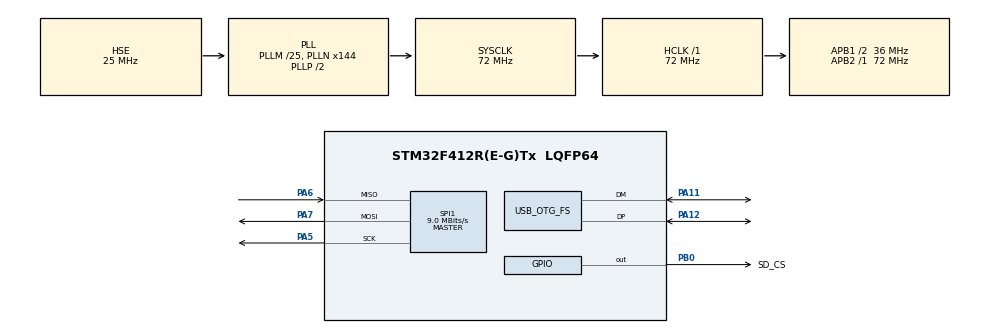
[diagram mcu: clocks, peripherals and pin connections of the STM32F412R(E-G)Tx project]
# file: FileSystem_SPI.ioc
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FATFS._MAX_SS=4096
FATFS._USE_LFN=1
Mcu.Family=STM32F4
Mcu.Name=STM32F412R(E-G)Tx
Mcu.Package=LQFP64
NVIC.PriorityGroup=NVIC_PRIORITYGROUP_4
PA11.Mode=Device_Only
PA11.Signal=USB_OTG_FS_DM
PA12.Mode=Device_Only
PA12.Signal=USB_OTG_FS_DP
PA13.Mode=Trace_Asynchronous_SW
PA13.Signal=SYS_JTMS-SWDIO
PA14.Mode=Trace_Asynchronous_SW
PA14.Signal=SYS_JTCK-SWCLK
PA5.Mode=Full_Duplex_Master
PA5.Signal=SPI1_SCK
PA6.Mode=Full_Duplex_Master
PA6.Signal=SPI1_MISO
PA7.Mode=Full_Duplex_Master
PA7.Signal=SPI1_MOSI
PB0.GPIO_Label=SD_CS
PB0.Signal=GPIO_Output
PB3.Mode=Trace_Asynchronous_SW
PB3.Signal=SYS_JTDO-SWO
PH0\ -\ OSC_IN.Mode=HSE-External-Oscillator
PH0\ -\ OSC_IN.Signal=RCC_OSC_IN
PH1\ -\ OSC_OUT.Mode=HSE-External-Oscillator
PH1\ -\ OSC_OUT.Signal=RCC_OSC_OUT
ProjectManager.HeapSize=0x200
ProjectManager.StackSize=0x400
ProjectManager.TargetToolchain=STM32CubeIDE
RCC.AHBFreq_Value=72000000
RCC.APB1CLKDivider=RCC_HCLK_DIV2
RCC.APB1Freq_Value=36000000
RCC.APB1TimFreq_Value=72000000
RCC.APB2Freq_Value=72000000
RCC.APB2TimFreq_Value=72000000
RCC.CortexFreq_Value=72000000
RCC.HCLKFreq_Value=72000000
RCC.PLLM=25
RCC.PLLN=144
RCC.PLLQ=3
RCC.SYSCLKFreq_VALUE=72000000
RCC.SYSCLKSource=RCC_SYSCLKSOURCE_PLLCLK
RCC.USBFreq_Value=48000000
RCC.VCOOutputFreq_Value=144000000
SPI1.BaudRatePrescaler=SPI_BAUDRATEPRESCALER_8
SPI1.CalculateBaudRate=9.0 MBits/s
SPI1.Direction=SPI_DIRECTION_2LINES
SPI1.Mode=SPI_MODE_MASTER
SPI1.VirtualType=VM_MASTER
USB_OTG_FS.VirtualMode=Device_Only
VP_FATFS_VS_Generic.Mode=User_defined
board=custom

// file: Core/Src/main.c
/* USER CODE BEGIN Header */
/**
  ******************************************************************************
  * @file           : main.c
  * @brief          : Main program body
  ******************************************************************************
  * @attention
  *
  * Copyright (c) 2023 STMicroelectronics.
  * All rights reserved.
  *
  * This software is licensed under terms that can be found in the LICENSE file
  * in the root directory of this software component.
  * If no LICENSE file comes with this software, it is provided AS-IS.
  *
  ******************************************************************************
  */
/* USER CODE END Header */
#include "main.h"
#include "fatfs.h"

/* USER CODE BEGIN Includes */
#include "fatfs_sd.h"
#include "string.h"
/* USER CODE END Includes */

SPI_HandleTypeDef hspi1;

PCD_HandleTypeDef hpcd_USB_OTG_FS;

void SystemClock_Config(void);
static void MX_GPIO_Init(void);
static void MX_SPI1_Init(void);
static void MX_USB_OTG_FS_PCD_Init(void);

/* USER CODE BEGIN 0 */
FATFS fs;
FIL fil;
FRESULT fresult;
char buffer[1024];

UINT br, bw;

FATFS *pfs;
DWORD fre_clust;
uint32_t total, free_space;

int bufsize (char *buff)
{
	int i = 0;
	while (*buff++ != '\0') i++;
	return i;
}

void clear_buffer (void)
{
	for (int i = 0; i < 1024; i ++)
		buffer[i] = '\0';
}

/* USER CODE END 0 */

int main(void)
{

  /* MCU Configuration--------------------------------------------------------*/

  /* Reset of all peripherals, Initializes the Flash interface and the Systick. */
  HAL_Init();

  /* Configure the system clock */
  SystemClock_Config();

  /* Initialize all configured peripherals */
  MX_GPIO_Init();
  MX_SPI1_Init();
  MX_USB_OTG_FS_PCD_Init();
  MX_FATFS_Init();
  /* USER CODE BEGIN 2 */
  fresult = f_mount(&fs,"",0);
  if (fresult != FR_OK)
	  Error_Handler();

  f_getfree("", &fre_clust, &pfs);

  total = (uint32_t)((pfs->n_fatent - 2) * pfs->csize * 0.5);
  free_space = (uint32_t)(fre_clust * pfs->csize * 0.5);

  fresult = f_open(&fil, "file2.txt", FA_CREATE_ALWAYS | FA_WRITE);

  /* Writing text */
  strcpy (buffer, "This is File2.txt, written using ...f_write... and it says Hello from Controllerstech\n");

  fresult = f_write(&fil, buffer, bufsize(buffer), &bw);

  /* Close file */
  f_close(&fil);

  // clearing buffer to show that result obtained is from the file
  clear_buffer();

  /* Open second file to read */
  fresult = f_open(&fil, "file2.txt", FA_READ);

  /* Read data from the file
   * Please see the function details for the arguments */
  f_read (&fil, buffer, f_size(&fil), &br);

  /* Close file */
  f_close(&fil);

  clear_buffer();

  /* USER CODE END 2 */

  /* Infinite loop */
  while (1)
  {

  }
}

void SystemClock_Config(void)
{
  RCC_OscInitTypeDef RCC_OscInitStruct = {0};
  RCC_ClkInitTypeDef RCC_ClkInitStruct = {0};

  /** Configure the main internal regulator output voltage
  */
  __HAL_RCC_PWR_CLK_ENABLE();
  __HAL_PWR_VOLTAGESCALING_CONFIG(PWR_REGULATOR_VOLTAGE_SCALE1);

  /** Initializes the RCC Oscillators according to the specified parameters
  * in the RCC_OscInitTypeDef structure.
  */
  RCC_OscInitStruct.OscillatorType = RCC_OSCILLATORTYPE_HSE;
  RCC_OscInitStruct.HSEState = RCC_HSE_ON;
  RCC_OscInitStruct.PLL.PLLState = RCC_PLL_ON;
  RCC_OscInitStruct.PLL.PLLSource = RCC_PLLSOURCE_HSE;
  RCC_OscInitStruct.PLL.PLLM = 25;
  RCC_OscInitStruct.PLL.PLLN = 144;
  RCC_OscInitStruct.PLL.PLLP = RCC_PLLP_DIV2;
  RCC_OscInitStruct.PLL.PLLQ = 3;
  RCC_OscInitStruct.PLL.PLLR = 2;
  if (HAL_RCC_OscConfig(&RCC_OscInitStruct) != HAL_OK)
  {
    Error_Handler();
  }

  /** Initializes the CPU, AHB and APB buses clocks
  */
  RCC_ClkInitStruct.ClockType = RCC_CLOCKTYPE_HCLK|RCC_CLOCKTYPE_SYSCLK
                              |RCC_CLOCKTYPE_PCLK1|RCC_CLOCKTYPE_PCLK2;
  RCC_ClkInitStruct.SYSCLKSource = RCC_SYSCLKSOURCE_PLLCLK;
  RCC_ClkInitStruct.AHBCLKDivider = RCC_SYSCLK_DIV1;
  RCC_ClkInitStruct.APB1CLKDivider = RCC_HCLK_DIV2;
  RCC_ClkInitStruct.APB2CLKDivider = RCC_HCLK_DIV1;

  if (HAL_RCC_ClockConfig(&RCC_ClkInitStruct, FLASH_LATENCY_2) != HAL_OK)
  {
    Error_Handler();
  }
}

static void MX_SPI1_Init(void)
{

  /* SPI1 parameter configuration*/
  hspi1.Instance = SPI1;
  hspi1.Init.Mode = SPI_MODE_MASTER;
  hspi1.Init.Direction = SPI_DIRECTION_2LINES;
  hspi1.Init.DataSize = SPI_DATASIZE_8BIT;
  hspi1.Init.CLKPolarity = SPI_POLARITY_LOW;
  hspi1.Init.CLKPhase = SPI_PHASE_1EDGE;
  hspi1.Init.NSS = SPI_NSS_SOFT;
  hspi1.Init.BaudRatePrescaler = SPI_BAUDRATEPRESCALER_8;
  hspi1.Init.FirstBit = SPI_FIRSTBIT_MSB;
  hspi1.Init.TIMode = SPI_TIMODE_DISABLE;
  hspi1.Init.CRCCalculation = SPI_CRCCALCULATION_DISABLE;
  hspi1.Init.CRCPolynomial = 10;
  if (HAL_SPI_Init(&hspi1) != HAL_OK)
  {
    Error_Handler();
  }

}

static void MX_USB_OTG_FS_PCD_Init(void)
{

  hpcd_USB_OTG_FS.Instance = USB_OTG_FS;
  hpcd_USB_OTG_FS.Init.dev_endpoints = 6;
  hpcd_USB_OTG_FS.Init.speed = PCD_SPEED_FULL;
  hpcd_USB_OTG_FS.Init.dma_enable = DISABLE;
  hpcd_USB_OTG_FS.Init.phy_itface = PCD_PHY_EMBEDDED;
  hpcd_USB_OTG_FS.Init.Sof_enable = DISABLE;
  hpcd_USB_OTG_FS.Init.low_power_enable = DISABLE;
  hpcd_USB_OTG_FS.Init.lpm_enable = DISABLE;
  hpcd_USB_OTG_FS.Init.battery_charging_enable = DISABLE;
  hpcd_USB_OTG_FS.Init.vbus_sensing_enable = DISABLE;
  hpcd_USB_OTG_FS.Init.use_dedicated_ep1 = DISABLE;
  if (HAL_PCD_Init(&hpcd_USB_OTG_FS) != HAL_OK)
  {
    Error_Handler();
  }

}

static void MX_GPIO_Init(void)
{
  GPIO_InitTypeDef GPIO_InitStruct = {0};

  /* GPIO Ports Clock Enable */
  __HAL_RCC_GPIOH_CLK_ENABLE();
  __HAL_RCC_GPIOA_CLK_ENABLE();
  __HAL_RCC_GPIOB_CLK_ENABLE();

  /*Configure GPIO pin Output Level */
  HAL_GPIO_WritePin(SD_CS_GPIO_Port, SD_CS_Pin, GPIO_PIN_RESET);

  /*Configure GPIO pin : SD_CS_Pin */
  GPIO_InitStruct.Pin = SD_CS_Pin;
  GPIO_InitStruct.Mode = GPIO_MODE_OUTPUT_PP;
  GPIO_InitStruct.Pull = GPIO_NOPULL;
  GPIO_InitStruct.Speed = GPIO_SPEED_FREQ_LOW;
  HAL_GPIO_Init(SD_CS_GPIO_Port, &GPIO_InitStruct);

}

void Error_Handler(void)
{
  __disable_irq();
  while (1)
  {
  }
}
